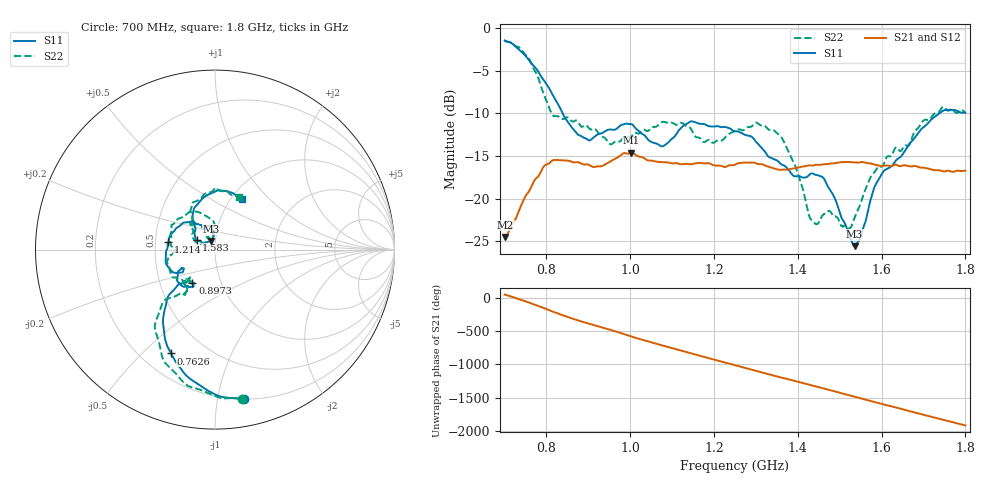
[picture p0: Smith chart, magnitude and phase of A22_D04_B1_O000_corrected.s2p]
! Created with skrf 1.9.0 (http://scikit-rf.org).
# Hz S RI R 50.0
!freq ReS11 ImS11 ReS21 ImS21 ReS12 ImS12 ReS22 ImS22
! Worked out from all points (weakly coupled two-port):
!   1601 points, 700 MHz to 1.8 GHz, reference 50 ohm
!   highest |S21| = -14.63 dB at 1.002 GHz (marker M1); lowest = -24.5 dB at 701.4 MHz (marker M2)
!   lowest |S11| = -25.6 dB at 1.535 GHz (marker M3), VSWR 1.11, Z = 47.6 + j4.54 ohm
!   |S11| at or under -10 dB: 838.6 MHz to 1.738 GHz (899.4 MHz wide, 69.8 % of centre)
!   |S22| runs from -23.5 to -1.5 dB; largest |S21 - S12| = 0.0035
!   S11 on the Smith chart (normalised r, x): 700 MHz: 0.20, -1.19; 762.6 MHz: 0.32, -0.61; 897.3 MHz: 0.73, -0.28; 1.214 GHz: 0.59, +0.05; 1.583 GHz: 0.81, +0.09; 1.8 GHz: 1.13, +0.70
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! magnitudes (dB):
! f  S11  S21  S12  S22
! 700 MHz  -1.4  -24.5  -24.3  -1.5
! 701.4 MHz  -1.5  -24.5  -24.1  -1.5
! 762.6 MHz  -4.0  -18.8  -18.7  -4.0
! 814.1 MHz  -7.8  -15.5  -15.6  -10.2
! 883.6 MHz  -12.7  -15.9  -15.8  -11.6
! 897.3 MHz  -13.1  -16.0  -16.1  -11.5
! 953 MHz  -11.9  -15.6  -15.6  -13.6
! 1.002 GHz  -11.3  -14.6  -14.7  -12.7
! 1.067 GHz  -13.7  -15.7  -15.6  -11.4
! 1.144 GHz  -11.0  -16.0  -16.0  -11.8
! 1.214 GHz  -11.6  -16.1  -16.1  -13.2
! 1.25 GHz  -12.1  -16.0  -15.9  -12.1
! 1.302 GHz  -13.4  -15.9  -15.8  -11.1
! 1.358 GHz  -15.9  -16.6  -16.6  -12.6
! 1.434 GHz  -17.0  -16.1  -16.1  -22.6
! 1.464 GHz  -17.8  -16.0  -16.0  -21.8
! 1.522 GHz  -24.2  -15.7  -15.7  -23.5
! 1.535 GHz  -25.6  -15.8  -15.8  -22.3
! 1.583 GHz  -18.7  -16.0  -16.0  -16.9
! 1.617 GHz  -16.4  -16.2  -16.1  -15.0
! 1.741 GHz  -9.9  -16.7  -16.7  -9.6
! 1.8 GHz  -9.9  -16.7  -16.7  -9.9
